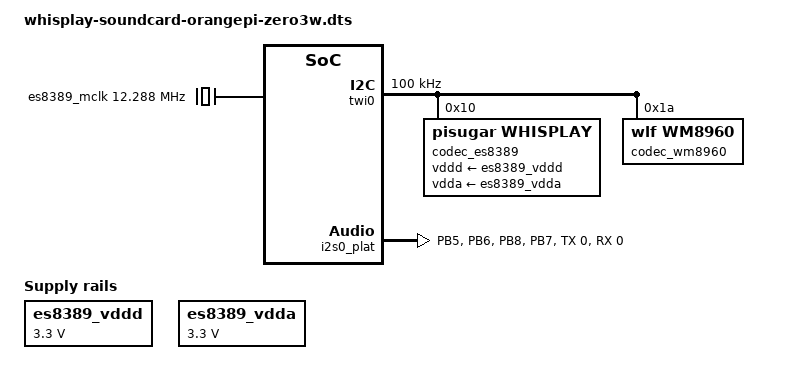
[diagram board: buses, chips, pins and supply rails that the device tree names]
/*
 * Whisplay sound card overlay for Orange Pi Zero 3W (Allwinner A733).
 *
 * Header routing:
 *   pins 3/5       TWI0 SDA/SCL (PB3/PB2)
 *   pins 12/35     I2S0 BCLK/LRCK (PB5/PB6)
 *   pins 38/40     I2S0 DIN/DOUT (PB8/PB7)
 *
 * PB4/I2S0_MCLK is deliberately not claimed: it is header pin 7 and the
 * Whisplay LCD uses that pin for reset. The codec uses a fixed logical clock
 * and the A733 controller operates without exporting MCLK to the header.
 */

/dts-v1/;
/plugin/;

/ {
	metadata {
		title = "Enable the unified Whisplay sound card on Orange Pi Zero 3W";
		compatible = "xunlong,orangepi-zero3w", "allwinner,sun60i-a733";
		category = "misc";
		exclusive = "twi0", "i2s0_plat", "i2s0_mach",
			    "PB5", "PB6", "PB8", "PB7";
		description = "Enable WM8960 or ES8389 auto-detection on TWI0 and I2S0.";
	};

	fragment@0 {
		target-path = "/";
		__overlay__ {
			es8389_mclk: es8389-mclk {
				compatible = "fixed-clock";
				#clock-cells = <0>;
				clock-frequency = <12288000>;
				clock-output-names = "es8389-mclk";
			};

			es8389_vddd: es8389-vddd {
				compatible = "regulator-fixed";
				regulator-name = "es8389-vddd";
				regulator-min-microvolt = <3300000>;
				regulator-max-microvolt = <3300000>;
				regulator-boot-on;
				regulator-always-on;
			};

			es8389_vdda: es8389-vdda {
				compatible = "regulator-fixed";
				regulator-name = "es8389-vdda";
				regulator-min-microvolt = <3300000>;
				regulator-max-microvolt = <3300000>;
				regulator-boot-on;
				regulator-always-on;
			};

			whisplay_sound: whisplay-sound {
				compatible = "pisugar,whisplay-soundcard";
				i2s-controller = <&i2s0_plat>;
				whisplay,es8389-codec = <&codec_es8389>;
				whisplay,es8389-sysclk = <12288000>;
				whisplay,es8389-mclk-fs = <256>;
				whisplay,wm8960-codec = <&codec_wm8960>;
				whisplay,wm8960-sysclk = <12288000>;
				whisplay,wm8960-mclk-fs = <256>;
				whisplay,wm8960-bound-detect;
				whisplay,sunxi-a733-i2s;
				whisplay,force-48k;
				whisplay,no-continuous-clock;
				status = "okay";
			};
		};
	};

	fragment@1 {
		target = <&twi0>;
		__overlay__ {
			#address-cells = <1>;
			#size-cells = <0>;
			clock-frequency = <100000>;
			twi_drv_used = <0>;
			status = "okay";

			codec_es8389: whisplay@10 {
				compatible = "pisugar,whisplay";
				reg = <0x10>;
				#sound-dai-cells = <0>;
				clocks = <&es8389_mclk>;
				clock-names = "mclk";
				vddd-supply = <&es8389_vddd>;
				vdda-supply = <&es8389_vdda>;
				everest,mclk-src = /bits/ 8 <0x40>;
				whisplay,a733-i2c-retry;
				status = "okay";
			};

			codec_wm8960: wm8960@1a {
				compatible = "wlf,wm8960";
				reg = <0x1a>;
				#sound-dai-cells = <0>;
				wlf,shared-lrclk;
				status = "okay";
			};
		};
	};

	fragment@2 {
		target = <&pio>;
		__overlay__ {
			whisplay_i2s0_bclk: whisplay-i2s0-bclk {
				pins = "PB5";
				function = "i2s0_bclk";
				allwinner,drive = <1>;
				bias-disable;
			};

			whisplay_i2s0_lrck: whisplay-i2s0-lrck {
				pins = "PB6";
				function = "i2s0_lrck";
				allwinner,drive = <1>;
				bias-disable;
			};

			whisplay_i2s0_din: whisplay-i2s0-din {
				pins = "PB8";
				function = "i2s0_din0";
				allwinner,drive = <1>;
				bias-pull-down;
			};

			whisplay_i2s0_dout: whisplay-i2s0-dout {
				pins = "PB7";
				function = "i2s0_dout0";
				allwinner,drive = <1>;
				bias-pull-down;
			};

			whisplay_i2s0_sleep: whisplay-i2s0-sleep {
				pins = "PB5", "PB6", "PB8", "PB7";
				function = "io_disabled";
				allwinner,drive = <1>;
				bias-disable;
			};
		};
	};

	fragment@3 {
		target = <&i2s0_plat>;
		__overlay__ {
			tdm-num = <0>;
			tx-pin = <0>;
			rx-pin = <0>;
			tx-hub-en;
			rx-sync-en;
			pinctrl-used;
			pinctrl-names = "default", "sleep";
			pinctrl-0 = <&whisplay_i2s0_bclk
				     &whisplay_i2s0_lrck
				     &whisplay_i2s0_din
				     &whisplay_i2s0_dout>;
			pinctrl-1 = <&whisplay_i2s0_sleep>;
			status = "okay";
		};
	};

	fragment@4 {
		target = <&i2s0_mach>;
		__overlay__ {
			status = "disabled";
		};
	};
};
